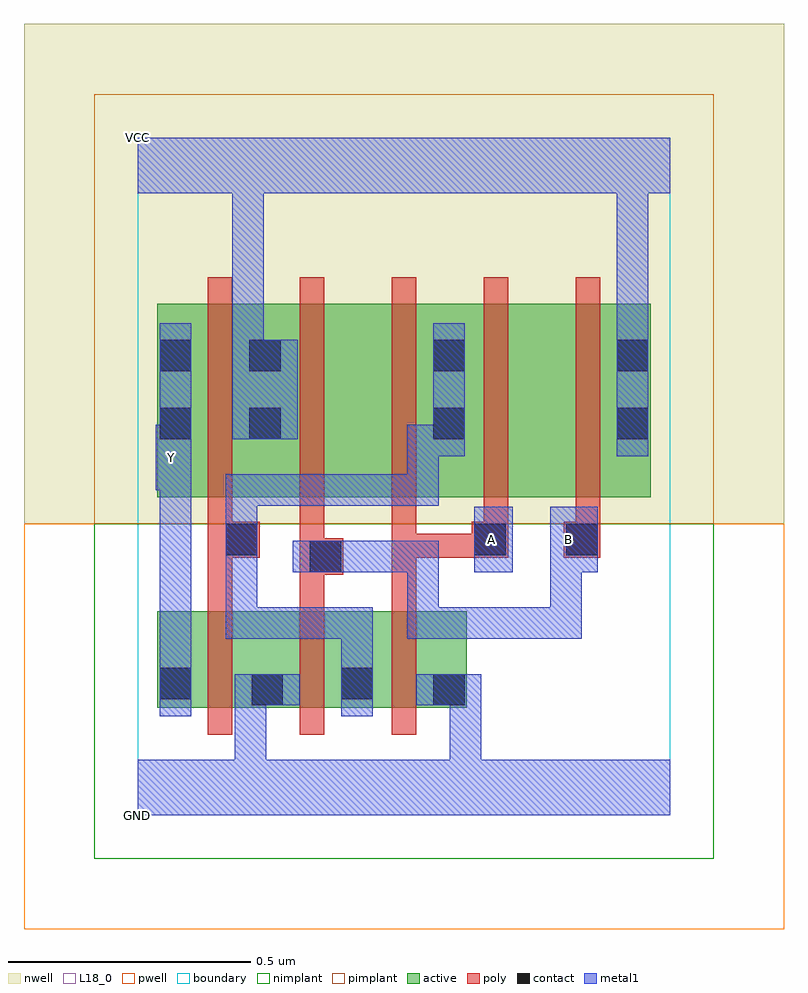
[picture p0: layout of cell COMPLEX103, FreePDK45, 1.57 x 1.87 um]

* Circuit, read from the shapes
.subckt COMPLEX103 A B GND VCC Y
M1 GND n1 Y VSUBS nfet w=0.2u l=0.05u
M2 n1 B GND VSUBS nfet w=0.2u l=0.05u
M3 GND A n1 VSUBS nfet w=0.2u l=0.05u
M4 VCC n1 Y n2 pfet w=0.4u l=0.05u
M5 n3 B VCC n2 pfet w=0.4u l=0.05u
M6 n1 A n3 n2 pfet w=0.4u l=0.05u
M7 n4 A n1 n2 pfet w=0.4u l=0.05u
M8 VCC B n4 n2 pfet w=0.4u l=0.05u
.ends

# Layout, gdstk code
import gdstk
lib = gdstk.Library(unit=1e-6, precision=1e-09)
def R(c, l, rs):  # rectangles x0, y0, x1, y1
    for r in rs: c.add(gdstk.rectangle(r[:2], r[2:], *l))
def A(c, l, x, y, w, h, nx, ny, dx, dy):  # array of equal rectangles
    R(c, l, [(x+i*dx, y+j*dy, x+i*dx+w, y+j*dy+h) for i in range(nx) for j in range(ny)])
active = (1, 0)
pwell = (2, 0)
nwell = (3, 0)
nimplant = (4, 0)
pimplant = (5, 0)
poly = (9, 0)
contact = (10, 0)
metal1 = (11, 0)
L18_0 = (18, 0)
boundary = (235, 0)

complex103 = lib.new_cell('COMPLEX103')
A(complex103, active, 0.225, 0.657, 0.075, 0.4, 3, 1, 0.38, 0)
R(complex103, active, [(0.04,0.222,0.305,0.422), (0.23,0.222,0.49,0.422), (0.23,0.222,0.305,0.31), (0.415,0.222,0.68,0.422), (0.605,0.222,0.68,0.422), (0.04,0.23,0.115,0.422), (0.415,0.23,0.49,0.31), (0.04,0.657,0.115,1.057), (0.04,0.657,0.3,1.057), (0.225,0.657,0.455,1.057), (0.455,0.657,0.68,1.057), (0.605,0.657,0.835,1.057), (0.835,0.657,1.06,1.057)])
R(complex103, pwell, [(-0.235,-0.235,1.335,0.602)])
R(complex103, nwell, [(-0.235,0.602,1.335,1.635)])
R(complex103, nimplant, [(-0.09,-0.09,1.19,0.602)])
R(complex103, pimplant, [(-0.09,0.602,1.19,1.49)])
A(complex103, poly, 0.145, 0.167, 0.05, 0.31, 3, 1, 0.19, 0)
A(complex103, poly, 0.335, 0.602, 0.05, 0.51, 4, 1, 0.19, 0)
R(complex103, poly, [(0.145,0.427,0.195,0.582), (0.335,0.427,0.385,0.547), (0.525,0.427,0.575,0.582), (0.335,0.497,0.425,0.572), (0.335,0.522,0.385,0.652), (0.145,0.532,0.252,0.607), (0.525,0.532,0.575,0.582), (0.525,0.532,0.74,0.582), (0.525,0.532,0.575,0.652), (0.69,0.532,0.765,0.607), (0.69,0.532,0.74,0.582), (0.69,0.532,0.74,0.582), (0.88,0.532,0.955,0.607), (0.145,0.557,0.195,0.607), (0.145,0.557,0.195,1.112), (0.715,0.557,0.765,0.652), (0.905,0.557,0.955,0.652)])
A(complex103, contact, 0.23, 0.777, 0.065, 0.065, 3, 2, 0.38, 0.14)
R(complex103, contact, [(0.235,0.227,0.3,0.292), (0.61,0.227,0.675,0.292), (0.045,0.24,0.11,0.305), (0.42,0.24,0.485,0.305), (0.355,0.502,0.42,0.567), (0.182,0.537,0.247,0.602), (0.695,0.537,0.76,0.602), (0.885,0.537,0.95,0.602), (0.045,0.777,0.11,0.842), (0.045,0.917,0.11,0.982)])
R(complex103, metal1, [(0,0,1.1,0.115), (0.2,0.05,0.265,0.115), (0.2,0.05,0.265,0.115), (0.2,0.05,0.265,0.115), (0.2,0.05,0.265,0.115), (0.2,0.05,0.265,0.292), (0.645,0.05,0.71,0.115), (0.645,0.05,0.71,0.115), (0.645,0.05,0.71,0.115), (0.645,0.05,0.71,0.115), (0.645,0.05,0.71,0.292), (0.045,0.205,0.11,0.34), (0.42,0.205,0.485,0.34), (0.2,0.227,0.335,0.292), (0.575,0.227,0.71,0.292), (0.045,0.275,0.11,0.737), (0.42,0.275,0.485,0.34), (0.42,0.275,0.485,0.43), (0.182,0.365,0.247,0.43), (0.182,0.365,0.247,0.567), (0.182,0.365,0.485,0.43), (0.557,0.365,0.622,0.43), (0.557,0.365,0.622,0.567), (0.557,0.365,0.76,0.43), (0.695,0.365,0.76,0.43), (0.695,0.365,0.917,0.43), (0.852,0.365,0.917,0.43), (0.852,0.365,0.917,0.567), (0.182,0.502,0.247,0.567), (0.182,0.502,0.247,0.567), (0.182,0.502,0.247,0.637), (0.182,0.502,0.247,0.705), (0.32,0.502,0.455,0.567), (0.39,0.502,0.455,0.567), (0.39,0.502,0.455,0.567), (0.39,0.502,0.622,0.567), (0.557,0.502,0.622,0.567), (0.557,0.502,0.622,0.567), (0.557,0.502,0.622,0.567), (0.695,0.502,0.775,0.637), (0.852,0.502,0.917,0.567), (0.852,0.502,0.917,0.567), (0.852,0.502,0.95,0.637), (0.182,0.64,0.247,0.705), (0.182,0.64,0.467,0.705), (0.402,0.64,0.467,0.705), (0.402,0.64,0.467,0.705), (0.402,0.64,0.467,0.705), (0.402,0.64,0.622,0.705), (0.557,0.64,0.622,0.807), (0.037,0.672,0.11,0.807), (0.045,0.742,0.11,0.807), (0.045,0.742,0.11,1.017), (0.557,0.742,0.675,0.807), (0.61,0.742,0.675,1.017), (0.99,0.742,1.055,1.017), (0.195,0.777,0.33,0.982), (0.195,0.917,0.26,1.35), (0.99,0.952,1.055,1.35), (0,1.285,1.1,1.4), (0.195,1.285,0.26,1.35), (0.195,1.285,0.26,1.35), (0.99,1.285,1.055,1.35), (0.99,1.285,1.055,1.35)])
R(complex103, L18_0, [(0,0,1.1,0.115), (0.2,0.05,0.265,0.115), (0.2,0.05,0.265,0.115), (0.2,0.05,0.265,0.115), (0.2,0.05,0.265,0.115), (0.2,0.05,0.265,0.292), (0.645,0.05,0.71,0.115), (0.645,0.05,0.71,0.115), (0.645,0.05,0.71,0.115), (0.645,0.05,0.71,0.115), (0.645,0.05,0.71,0.292), (0.045,0.205,0.11,0.34), (0.2,0.227,0.335,0.292), (0.575,0.227,0.71,0.292), (0.045,0.275,0.11,0.737), (0.557,0.365,0.622,0.43), (0.557,0.365,0.622,0.567), (0.557,0.365,0.76,0.43), (0.695,0.365,0.76,0.43), (0.695,0.365,0.917,0.43), (0.852,0.365,0.917,0.43), (0.852,0.365,0.917,0.567), (0.32,0.502,0.455,0.567), (0.39,0.502,0.455,0.567), (0.39,0.502,0.455,0.567), (0.39,0.502,0.622,0.567), (0.557,0.502,0.622,0.567), (0.557,0.502,0.622,0.567), (0.557,0.502,0.622,0.567), (0.695,0.502,0.775,0.637), (0.852,0.502,0.917,0.567), (0.852,0.502,0.917,0.567), (0.852,0.502,0.95,0.637), (0.697,0.537,0.762,0.602), (0.857,0.537,0.922,0.602), (0.037,0.672,0.11,0.807), (0.037,0.707,0.102,0.772), (0.045,0.742,0.11,1.017), (0.045,0.742,0.11,0.807), (0.99,0.742,1.055,1.017), (0.195,0.777,0.33,0.982), (0.195,0.917,0.26,1.35), (0.99,0.952,1.055,1.35), (0,1.285,1.1,1.4), (0.195,1.285,0.26,1.35), (0.195,1.285,0.26,1.35), (0.99,1.285,1.055,1.35), (0.99,1.285,1.055,1.35)])
R(complex103, boundary, [(0,0,1.1,1.4)])
complex103.add(gdstk.Label('A', (0.73,0.57), layer=11, texttype=0))
complex103.add(gdstk.Label('B', (0.89,0.57), layer=11, texttype=0))
complex103.add(gdstk.Label('Y', (0.07,0.74), layer=11, texttype=0))
complex103.add(gdstk.Label('VCC', (0,1.4), layer=11, texttype=0))
complex103.add(gdstk.Label('GND', (0,0), layer=11, texttype=0))

lib.write_gds('COMPLEX103.gds')
